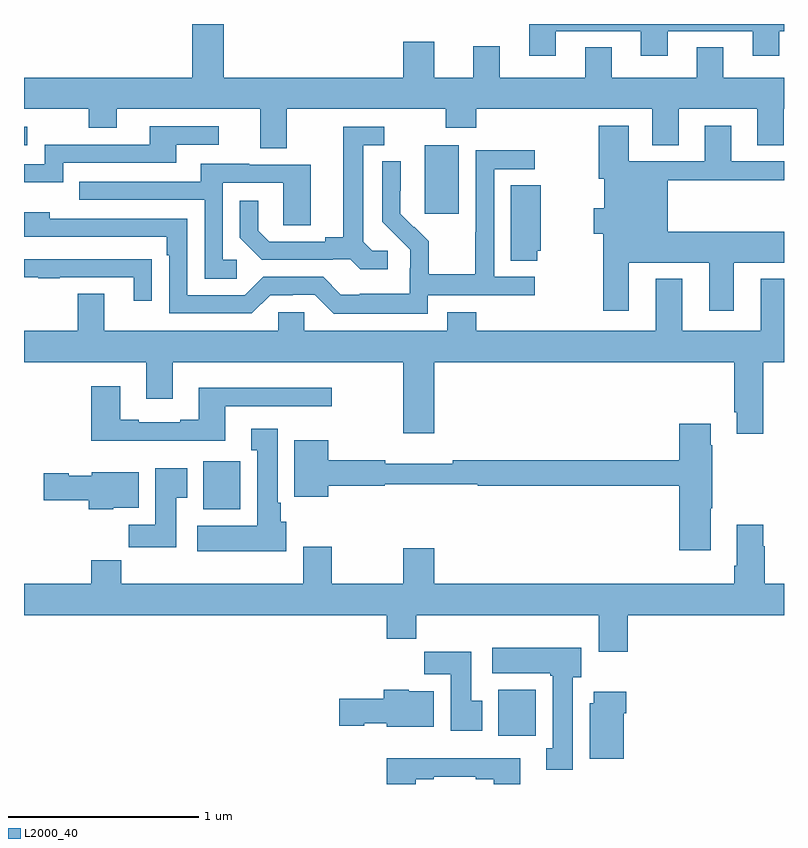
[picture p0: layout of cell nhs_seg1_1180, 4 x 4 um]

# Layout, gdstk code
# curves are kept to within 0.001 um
import gdstk
lib = gdstk.Library(unit=1e-6, precision=1e-09)
def R(c, l, rs):  # rectangles x0, y0, x1, y1
    for r in rs: c.add(gdstk.rectangle(r[:2], r[2:], *l))
def P(c, l, *ps):  # polygons
    for p in ps: c.add(gdstk.Polygon(p, *l))
L2000_40 = (2000, 40)

nhs_seg1_1180 = lib.new_cell('nhs_seg1_1180')
R(nhs_seg1_1180, L2000_40, [(177.497,528.452,177.694,528.694), (175.943,529.646,176.139,529.897), (177.11,531.201,177.289,531.562), (175,531.561,175.018,531.657)])
P(nhs_seg1_1180, L2000_40, [(176.383,531.752),(177.22,531.752),(177.22,531.653),(177.38,531.653),(177.38,531.752),(178.307,531.752),(178.307,531.562),(178.447,531.562),(178.447,531.752),(178.859,531.752),(178.859,531.562),(178.999,531.562),(178.999,531.752),(179,531.752),(179,531.916),(178.681,531.916),(178.681,532.076),(178.541,532.076),(178.541,531.916),(178.093,531.916),(178.093,532.076),(177.953,532.076),(177.953,531.916),(177.505,531.916),(177.505,532.081),(177.365,532.081),(177.365,531.916),(177.16,531.916),(177.16,532.105),(176.996,532.105),(176.996,531.916),(176.05,531.916),(176.05,532.199),(175.886,532.199),(175.886,531.916),(175,531.916),(175,531.752),(175.342,531.752),(175.342,531.653),(175.489,531.653),(175.489,531.752),(176.243,531.752),(176.243,531.544),(176.383,531.544)],
  [(177.799,532.161),(178.247,532.161),(178.247,532.032),(178.387,532.032),(178.387,532.161),(178.835,532.161),(178.835,532.032),(178.975,532.032),(178.975,532.161),(179,532.161),(179,532.199),(177.659,532.199),(177.659,532.032),(177.799,532.032)],
  [(178.183,530.942),(178.607,530.942),(178.607,530.691),(178.735,530.691),(178.735,530.942),(179,530.942),(179,531.106),(178.387,531.106),(178.387,531.376),(179,531.376),(179,531.477),(178.723,531.477),(178.723,531.664),(178.583,531.664),(178.583,531.477),(178.183,531.477),(178.183,531.664),(178.024,531.664),(178.024,531.384),(178.055,531.384),(178.055,531.229),(177.998,531.229),(177.998,531.095),(178.048,531.095),(178.048,530.691),(178.183,530.691)],
  [(175.206,531.468),(175.801,531.468),(175.801,531.564),(176.026,531.564),(176.026,531.66),(175.661,531.66),(175.661,531.564),(175.11,531.564),(175.11,531.462),(175,531.462),(175,531.365),(175.206,531.365)],
  [(176.914,531.006),(176.832,531.006),(176.785,531.053),(176.785,531.561),(176.896,531.561),(176.896,531.657),(176.681,531.657),(176.681,531.077),(176.585,531.077),(176.585,531.054),(176.29,531.054),(176.233,531.111),(176.233,531.268),(176.136,531.268),(176.136,531.074),(176.252,530.958),(176.624,530.958),(176.624,530.961),(176.718,530.961),(176.77,530.909),(176.914,530.909)],
  [(177.126,530.772),(177.688,530.772),(177.688,530.868),(177.474,530.868),(177.474,531.435),(177.688,531.435),(177.688,531.534),(177.378,531.534),(177.378,531.104),(177.376,531.104),(177.376,530.881),(177.131,530.881),(177.131,531.055),(177.054,531.132),(177.051,531.129),(176.981,531.2),(176.982,531.476),(176.886,531.476),(176.886,531.158),(177.032,531.01),(177.032,530.913),(177.03,530.913),(177.03,530.779),(176.767,530.779),(176.767,530.775),(176.667,530.775),(176.574,530.868),(176.259,530.868),(176.163,530.772),(175.86,530.772),(175.86,531.174),(175.136,531.174),(175.136,531.208),(175,531.208),(175,531.078),(175.751,531.078),(175.751,530.981),(175.764,530.981),(175.764,530.676),(176.199,530.676),(176.295,530.772),(176.414,530.772),(176.414,530.775),(176.529,530.775),(176.629,530.675),(177.126,530.675)],
  [(176.119,530.958),(176.046,530.958),(176.046,531.363),(176.364,531.363),(176.364,531.139),(176.509,531.139),(176.509,531.459),(176.185,531.459),(176.185,531.463),(175.931,531.463),(175.931,531.369),(175.291,531.369),(175.291,531.273),(175.95,531.273),(175.95,530.857),(176.119,530.857)],
  [(177.702,531.006),(177.721,531.006),(177.721,531.35),(177.563,531.35),(177.563,530.953),(177.702,530.953)],
  [(175.673,530.96),(175.571,530.96),(175.571,530.961),(175,530.961),(175,530.865),(175.075,530.865),(175.075,530.86),(175.187,530.86),(175.187,530.865),(175.577,530.865),(175.577,530.742),(175.673,530.742)],
  [(178.465,530.857),(178.325,530.857),(178.325,530.584),(177.38,530.584),(177.38,530.683),(177.227,530.683),(177.227,530.584),(176.475,530.584),(176.475,530.682),(176.337,530.682),(176.337,530.584),(175.423,530.584),(175.423,530.779),(175.283,530.779),(175.283,530.584),(175,530.584),(175,530.42),(175.643,530.42),(175.643,530.226),(175.783,530.226),(175.783,530.42),(176.996,530.42),(176.996,530.046),(177.16,530.046),(177.16,530.42),(178.739,530.42),(178.739,530.155),(178.751,530.155),(178.751,530.043),(178.891,530.043),(178.891,530.42),(179,530.42),(179,530.857),(178.877,530.857),(178.877,530.584),(178.465,530.584)],
  [(176.059,530.187),(176.62,530.187),(176.62,530.284),(175.919,530.284),(175.919,530.116),(175.823,530.116),(175.823,530.103),(175.603,530.103),(175.603,530.116),(175.507,530.116),(175.507,530.293),(175.355,530.293),(175.355,530.006),(176.059,530.006)],
  [(178.615,529.651),(178.623,529.651),(178.623,529.982),(178.615,529.982),(178.615,530.095),(178.448,530.095),(178.448,529.904),(177.256,529.904),(177.256,529.885),(176.9,529.885),(176.9,529.904),(176.602,529.904),(176.602,530.008),(176.423,530.008),(176.423,529.712),(176.602,529.712),(176.602,529.768),(176.898,529.768),(176.898,529.776),(177.387,529.776),(177.387,529.768),(178.448,529.768),(178.448,529.428),(178.615,529.428)],
  [(176.38,529.578),(176.35,529.578),(176.35,529.678),(176.335,529.678),(176.335,530.068),(176.195,530.068),(176.195,529.955),(176.228,529.955),(176.228,529.558),(175.911,529.558),(175.911,529.424),(176.38,529.424)],
  [(175.801,529.705),(175.858,529.705),(175.858,529.861),(175.691,529.861),(175.691,529.564),(175.552,529.564),(175.552,529.446),(175.801,529.446)],
  [(175.47,529.652),(175.603,529.652),(175.603,529.84),(175.356,529.84),(175.356,529.822),(175.236,529.822),(175.236,529.835),(175.104,529.835),(175.104,529.693),(175.34,529.693),(175.34,529.646),(175.47,529.646)],
  [(178.178,529.088),(179,529.088),(179,529.252),(178.899,529.252),(178.899,529.451),(178.891,529.451),(178.891,529.564),(178.751,529.564),(178.751,529.348),(178.739,529.348),(178.739,529.252),(177.16,529.252),(177.16,529.441),(176.996,529.441),(176.996,529.252),(176.619,529.252),(176.619,529.447),(176.471,529.447),(176.471,529.252),(175.511,529.252),(175.511,529.376),(175.355,529.376),(175.355,529.252),(175,529.252),(175,529.088),(176.909,529.088),(176.909,528.964),(177.065,528.964),(177.065,529.088),(178.025,529.088),(178.025,528.894),(178.178,528.894)],
  [(177.889,528.762),(177.934,528.762),(177.934,528.916),(177.465,528.916),(177.465,528.782),(177.769,528.782),(177.769,528.769),(177.782,528.769),(177.782,528.386),(177.749,528.386),(177.749,528.273),(177.889,528.273)],
  [(177.412,528.636),(177.355,528.636),(177.355,528.895),(177.106,528.895),(177.106,528.776),(177.245,528.776),(177.245,528.48),(177.412,528.48)],
  [(177.157,528.688),(177.024,528.688),(177.024,528.694),(176.894,528.694),(176.894,528.648),(176.658,528.648),(176.658,528.506),(176.79,528.506),(176.79,528.518),(176.91,528.518),(176.91,528.5),(177.157,528.5)],
  [(178.156,528.572),(178.169,528.572),(178.169,528.685),(177.998,528.685),(177.998,528.624),(177.977,528.624),(177.977,528.332),(178.156,528.332)],
  [(177.061,528.225),(177.157,528.225),(177.157,528.237),(177.377,528.237),(177.377,528.225),(177.473,528.225),(177.473,528.199),(177.613,528.199),(177.613,528.334),(176.909,528.334),(176.909,528.199),(177.061,528.199)])

lib.write_gds('nhs_seg1_1180.gds')
